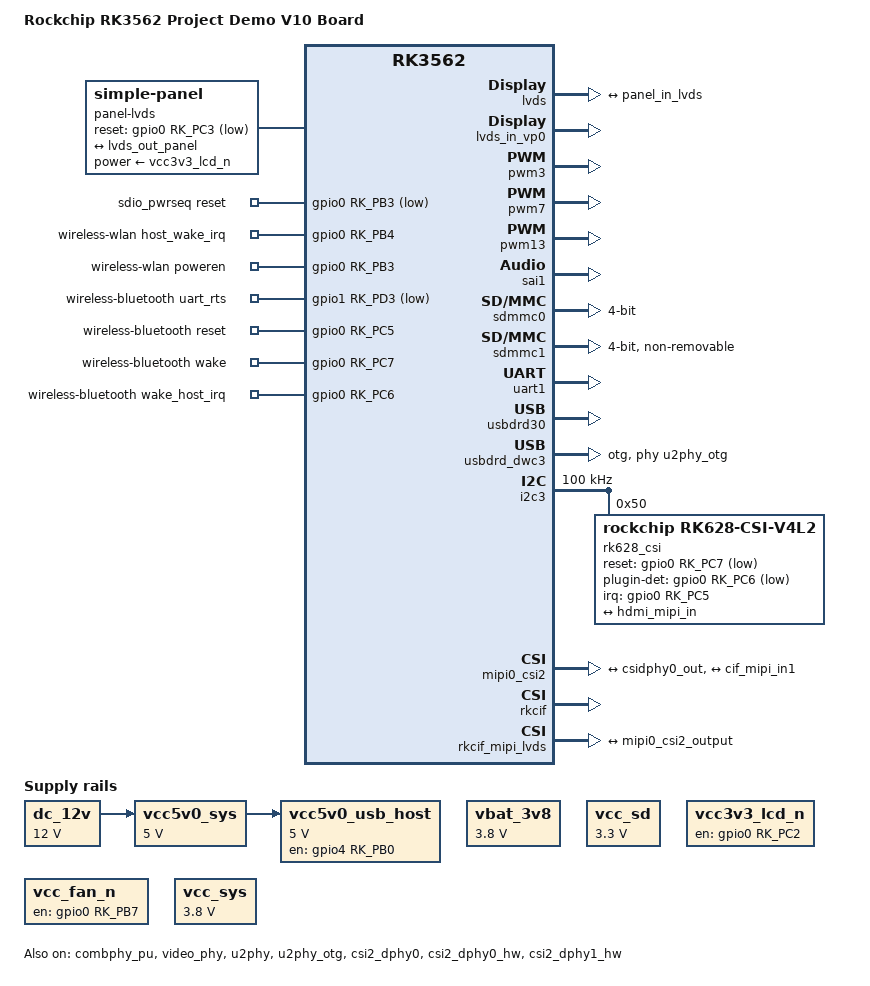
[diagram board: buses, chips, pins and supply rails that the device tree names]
// SPDX-License-Identifier: (GPL-2.0+ OR MIT)
/*
 * Copyright (c) 2025 Rockchip Electronics Co., Ltd.
 *
 */

/dts-v1/;

#include "dt-bindings/usb/pd.h"
#include "rk3562.dtsi"
#include "rk3562-project.dtsi"
#include <dt-bindings/gpio/gpio.h>
#include <dt-bindings/pinctrl/rockchip.h>
#include <dt-bindings/sensor-dev.h>
#include <dt-bindings/display/media-bus-format.h>

/ {
	model = "Rockchip RK3562 Project Demo V10 Board";
	compatible = "rockchip,rk3562-project-demo-v10", "rockchip,rk3562";

	dc_12v: dc-12v {
		compatible = "regulator-fixed";
		regulator-name = "dc_12v";
		regulator-always-on;
		regulator-boot-on;
		regulator-min-microvolt = <12000000>;
		regulator-max-microvolt = <12000000>;
	};

	hdmi_codec: hdmi-codec {
		status = "okay";
		compatible = "rockchip,dummy-codec";
		#sound-dai-cells = <0>;
		//clocks = <&cru SCLK_I2S2_OUT>;
		//clock-names = "mclk";
		//pinctrl-names = "default";
		//pinctrl-0 = <&i2s2_2ch_mclk>;
	};

	hdim_in_sound: hdmi-in-sound {
		status = "okay";
		compatible = "simple-audio-card";
		simple-audio-card,format = "i2s";
		//simple-audio-card,bitclock-inversion = <1>;
		simple-audio-card,mclk-fs = <128>;
		simple-audio-card,name = "rockchip,hdmiin";
		simple-audio-card,bitclock-master = <&sound0_master>;
		simple-audio-card,frame-master = <&sound0_master>;
		simple-audio-card,cpu {
			sound-dai = <&sai1>;
		};
		sound0_master:simple-audio-card,codec {
			sound-dai = <&hdmi_codec>;
		};
	};

	panel-lvds {
		compatible = "simple-panel";
		status = "okay";
		//backlight = <&backlight>;
		reset-delay-ms = <20>;
		enable-delay-ms = <20>;
		prepare-delay-ms = <20>;
		unprepare-delay-ms = <20>;
		disable-delay-ms = <20>;
		bus-format = <MEDIA_BUS_FMT_RGB888_1X7X4_SPWG>;
		width-mm = <164>;
		height-mm = <100>;

		power-supply = <&vcc3v3_lcd_n>;
		reset-gpios = <&gpio0 RK_PC3 GPIO_ACTIVE_LOW>;
		pinctrl-names = "default";
		pinctrl-0 = <&lcd_rst_gpio &lcd_stb_gpio>;

		display-timings {
			native-mode = <&timing0>;

			timing0: timing0 {
				clock-frequency = <59370000>;
				hactive = <1280>;
				vactive = <720>;
				hback-porch = <40>;
				hfront-porch = <40>;
				vback-porch = <20>;
				vfront-porch = <20>;
				hsync-len = <20>;
				vsync-len = <2>;
				hsync-active = <0>;
				vsync-active = <0>;
				de-active = <0>;
				pixelclk-active = <0>;
			};
		};

		ports {
			#address-cells = <1>;
			#size-cells = <0>;

			port@0 {
				reg = <0>;
				panel_in_lvds: endpoint {
					remote-endpoint = <&lvds_out_panel>;
				};
			};
		};
	};

	sdio_pwrseq: sdio-pwrseq {
		compatible = "mmc-pwrseq-simple";
		//clocks = <&rk817 1>;
		//clock-names = "ext_clock";
		pinctrl-names = "default";
		pinctrl-0 = <&wifi_enable_h>;

		/*
		 * On the module itself this is one of these (depending
		 * on the actual card populated):
		 * - SDIO_RESET_L_WL_REG_ON
		 * - PDN (power down when low)
		 */
		post-power-on-delay-ms = <200>;
		reset-gpios = <&gpio0 RK_PB3 GPIO_ACTIVE_LOW>;
	};

	vcc5v0_sys: vcc5v0-sys {
		compatible = "regulator-fixed";
		regulator-name = "vcc5v0_sys";
		regulator-always-on;
		regulator-boot-on;
		regulator-min-microvolt = <5000000>;
		regulator-max-microvolt = <5000000>;
		vin-supply = <&dc_12v>;
	};

	vcc5v0_usb_host: vcc5v0-usb-host {
		compatible = "regulator-fixed";
		regulator-name = "vcc5v0_usb_host";
		regulator-boot-on;
		regulator-always-on;
		regulator-min-microvolt = <5000000>;
		regulator-max-microvolt = <5000000>;
		enable-active-high;
		gpio = <&gpio4 RK_PB0 GPIO_ACTIVE_HIGH>;
		vin-supply = <&vcc5v0_sys>;
		pinctrl-names = "default";
		pinctrl-0 = <&usb_host_pwren>;
	};

	vbat_3v8: vbat-3v8 {
		compatible = "regulator-fixed";
		regulator-name = "vbat_3v8";
		regulator-always-on;
		regulator-boot-on;
		regulator-min-microvolt = <3800000>;
		regulator-max-microvolt = <3800000>;
	};

	vcc_sd: vcc-sd {
		compatible = "regulator-gpio";
		enable-active-low;
		regulator-boot-on;
		gpios = <&gpio0 RK_PA5 GPIO_ACTIVE_LOW>;
		regulator-min-microvolt = <3300000>;
		regulator-max-microvolt = <3300000>;
		pinctrl-names = "default";
		pinctrl-0 = <&vcc_sd_h>;
		regulator-name = "vcc_sd";
		states = <0 0x0
			  3300000 0x1>;
	};

	vcc3v3_lcd_n: vcc3v3-lcd0-n {
		compatible = "regulator-fixed";
		regulator-name = "vcc3v3_lcd_n";
		gpio = <&gpio0 RK_PC2 GPIO_ACTIVE_HIGH>;
		enable-active-high;
		regulator-boot-on;
		regulator-state-mem {
			regulator-off-in-suspend;
		};
	};

	vcc_fan_n: vcc-fan-n {
		compatible = "regulator-fixed";
		regulator-name = "vcc_fan_n";
		gpio = <&gpio0 RK_PB7 GPIO_ACTIVE_HIGH>;
		enable-active-high;
		regulator-boot-on;
		regulator-always-on;
		regulator-state-mem {
			regulator-off-in-suspend;
		};
	};

	vcc_sys: vcc-sys {
		compatible = "regulator-fixed";
		regulator-name = "vcc_sys";
		regulator-always-on;
		regulator-boot-on;
		regulator-min-microvolt = <3800000>;
		regulator-max-microvolt = <3800000>;
	};

	wireless-wlan {
		compatible = "wlan-platdata";
		rockchip,grf = <&sys_grf>;
		wifi_chip_type = "ap6275s";
		pinctrl-names = "default";
		pinctrl-0 = <&wifi_host_wake_irq>;
		WIFI,host_wake_irq = <&gpio0 RK_PB4 GPIO_ACTIVE_HIGH>;
		WIFI,poweren_gpio = <&gpio0 RK_PB3 GPIO_ACTIVE_HIGH>;
		status = "okay";
	};

	wireless-bluetooth {
		compatible = "bluetooth-platdata";
		//clocks = <&rk817 1>;
		//clock-names = "ext_clock";
		//wifi-bt-power-toggle;
		uart_rts_gpios = <&gpio1 RK_PD3 GPIO_ACTIVE_LOW>;
		pinctrl-names = "default", "rts_gpio";
		pinctrl-0 = <&uart1m0_rtsn>;
		pinctrl-1 = <&uart1_gpios>;
		BT,reset_gpio    = <&gpio0 RK_PC5 GPIO_ACTIVE_HIGH>;
		BT,wake_gpio     = <&gpio0 RK_PC7 GPIO_ACTIVE_HIGH>;
		BT,wake_host_irq = <&gpio0 RK_PC6 GPIO_ACTIVE_HIGH>;
		status = "okay";
	};
};



&combphy_pu {
	status = "okay";
};

&dsi {
	status = "disabled";
};

&dsi_in_vp0 {
	status = "disabled";
};

&lvds {
	status = "okay";

	ports {
		port@1 {
			reg = <1>;

			lvds_out_panel: endpoint {
				remote-endpoint = <&panel_in_lvds>;
			};
		};
	};
};

&lvds_in_vp0 {
	status = "okay";
};

&pwm3 {
	status = "okay";

	compatible = "rockchip,remotectl-pwm";
	pinctrl-names = "default";
	pinctrl-0 = <&pwm3m0_pins>;
	assigned-clocks = <&cru CLK_PMU1_PWM0>;
	assigned-clock-rates = <24000000>;
	remote_pwm_id = <3>;
	handle_cpu_id = <1>;
	remote_support_psci = <1>;

	ir_key1 {
		rockchip,usercode = <0x4040>;
		rockchip,key_table =
			<0xf2	KEY_REPLY>,
			<0xba	KEY_BACK>,
			<0xf4	KEY_UP>,
			<0xf1	KEY_DOWN>,
			<0xef	KEY_LEFT>,
			<0xee	KEY_RIGHT>,
			<0xbd	KEY_HOME>,
			<0xea	KEY_VOLUMEUP>,
			<0xe3	KEY_VOLUMEDOWN>,
			<0xe2	KEY_SEARCH>,
			<0xb2	KEY_POWER>,
			<0xbc	KEY_MUTE>,
			<0xec	KEY_MENU>,
			<0xbf	0x190>,
			<0xe0	0x191>,
			<0xe1	0x192>,
			<0xe9	183>,
			<0xe6	248>,
			<0xe8	185>,
			<0xe7	186>,
			<0xf0	388>,
			<0xbe	0x175>;
	};

	ir_key2 {
		rockchip,usercode = <0xff00>;
		rockchip,key_table =
			<0xf9	KEY_HOME>,
			<0xbf	KEY_BACK>,
			<0xfb	KEY_MENU>,
			<0xaa	KEY_REPLY>,
			<0xb9	KEY_UP>,
			<0xe9	KEY_DOWN>,
			<0xb8	KEY_LEFT>,
			<0xea	KEY_RIGHT>,
			<0xeb	KEY_VOLUMEDOWN>,
			<0xef	KEY_VOLUMEUP>,
			<0xf7	KEY_MUTE>,
			<0xe7	KEY_POWER>,
			<0xfc	KEY_POWER>,
			<0xa9	KEY_VOLUMEDOWN>,
			<0xa8	KEY_VOLUMEDOWN>,
			<0xe0	KEY_VOLUMEDOWN>,
			<0xa5	KEY_VOLUMEDOWN>,
			<0xab	183>,
			<0xb7	388>,
			<0xe8	388>,
			<0xf8	184>,
			<0xaf	185>,
			<0xed	KEY_VOLUMEDOWN>,
			<0xee	186>,
			<0xb3	KEY_VOLUMEDOWN>,
			<0xf1	KEY_VOLUMEDOWN>,
			<0xf2	KEY_VOLUMEDOWN>,
			<0xf3	KEY_SEARCH>,
			<0xb4	KEY_VOLUMEDOWN>,
			<0xbe	KEY_SEARCH>;
	};

	ir_key3 {
		rockchip,usercode = <0x1dcc>;
		rockchip,key_table =
			<0xee	KEY_REPLY>,
			<0xf0	KEY_BACK>,
			<0xf8	KEY_UP>,
			<0xbb	KEY_DOWN>,
			<0xef	KEY_LEFT>,
			<0xed	KEY_RIGHT>,
			<0xfc	KEY_HOME>,
			<0xf1	KEY_VOLUMEUP>,
			<0xfd	KEY_VOLUMEDOWN>,
			<0xb7	KEY_SEARCH>,
			<0xff	KEY_POWER>,
			<0xf3	KEY_MUTE>,
			<0xbf	KEY_MENU>,
			<0xf9	0x191>,
			<0xf5	0x192>,
			<0xb3	388>,
			<0xbe	KEY_1>,
			<0xba	KEY_2>,
			<0xb2	KEY_3>,
			<0xbd	KEY_4>,
			<0xf9	KEY_5>,
			<0xb1	KEY_6>,
			<0xfc	KEY_7>,
			<0xf8	KEY_8>,
			<0xb0	KEY_9>,
			<0xb6	KEY_0>,
			<0xb5	KEY_BACKSPACE>;
	};
};

&pwm7 {
	status = "okay";
};

&pwm13 {
	status = "okay";
};

&video_phy {
	status = "okay";
};

&pinctrl {
	headphone {
		hp_det: hp-det {
			rockchip,pins = <1 RK_PD0 RK_FUNC_GPIO &pcfg_pull_none>;
		};
	};

	lcd {
		lcd_rst_gpio: lcd-rst-gpio {
			rockchip,pins = <0 RK_PC3 RK_FUNC_GPIO &pcfg_pull_none>;
		};
		lcd_stb_gpio: lcd-stb-gpio {
			rockchip,pins = <0 RK_PC4 RK_FUNC_GPIO &pcfg_pull_down>;
		};
	};

	sdio-pwrseq {
		wifi_enable_h: wifi-enable-h {
			rockchip,pins = <0 RK_PB3 RK_FUNC_GPIO &pcfg_pull_none>;
		};
	};

	vcc_sd {
		vcc_sd_h: vcc-sd-h {
			rockchip,pins = <0 RK_PA5 RK_FUNC_GPIO &pcfg_pull_down>;
		};
	};

	usb {
		usb_host_pwren: usb-host-pwren {
			rockchip,pins = <4 RK_PB0 RK_FUNC_GPIO &pcfg_pull_none>;
		};

	};

	wireless-wlan {
		wifi_host_wake_irq: wifi-host-wake-irq {
			rockchip,pins = <0 RK_PB4 RK_FUNC_GPIO &pcfg_pull_down>;
		};
	};

	wireless-bluetooth {
		uart1_gpios: uart1-gpios {
			rockchip,pins = <1 RK_PD3 RK_FUNC_GPIO &pcfg_pull_none>;
		};
	};
};

&sai1 {
	status = "okay";
	pinctrl-names = "default";
	pinctrl-0 = <&i2s1m1_lrck
		     &i2s1m1_sclk
		     &i2s1m1_sdi0>;
};

&sdmmc0 {
	no-sdio;
	no-mmc;
	bus-width = <4>;
	cap-mmc-highspeed;
	cap-sd-highspeed;
	disable-wp;
	sd-uhs-sdr104;
	//vmmc-supply = <&vcc_sd>;
	//vqmmc-supply = <&vccio_sd>;
	pinctrl-names = "default";
	pinctrl-0 = <&sdmmc0_bus4 &sdmmc0_clk &sdmmc0_cmd &sdmmc0_det>;
	status = "okay";
};

&sdmmc1 {
	no-sd;
	no-mmc;
	bus-width = <4>;
	disable-wp;
	cap-sd-highspeed;
	cap-sdio-irq;
	keep-power-in-suspend;
	mmc-pwrseq = <&sdio_pwrseq>;
	non-removable;
	pinctrl-names = "default";
	pinctrl-0 = <&sdmmc1_bus4 &sdmmc1_cmd &sdmmc1_clk>;
	sd-uhs-sdr104;
	status = "okay";
};

&u2phy {
	status = "okay";
};

&u2phy_otg {
	status = "okay";
};

&uart1 {
	status = "okay";
	pinctrl-names = "default";
	pinctrl-0 = <&uart1m0_xfer &uart1m0_ctsn>;
};

&usbdrd30 {
	status = "okay";
};

&usbdrd_dwc3 {
	status = "okay";

	dr_mode = "otg";
	maximum-speed = "high-speed";
	extcon =<&u2phy>;
	phys = <&u2phy_otg>;
	phy-names = "usb2-phy";
	snps,dis_u2_susphy_quirk;
	snps,usb2-lpm-disable;
};

&csi2_dphy0 {
	status = "okay";

	ports {
		#address-cells = <1>;
		#size-cells = <0>;
		port@0 {
			reg = <0>;
			#address-cells = <1>;
			#size-cells = <0>;

			hdmi_mipi_in: endpoint@1 {
				reg = <1>;
				remote-endpoint = <&hdmiin_out>;
				data-lanes = <1 2 3 4>;
			};
		};
		port@1 {
			reg = <1>;
			#address-cells = <1>;
			#size-cells = <0>;

			csidphy0_out: endpoint@0 {
				reg = <0>;
				remote-endpoint = <&mipi0_csi2_input>;
			};
		};
	};
};

&csi2_dphy0_hw {
	status = "okay";
};

&csi2_dphy1_hw {
	status = "okay";
};

&i2c3 {
	clock-frequency = <100000>;
	pinctrl-0 = <&i2c3m1_xfer>;
	status = "okay";

	rk628_csi: rk628_csi@50 {
		reg = <0x50>;
		compatible = "rockchip,rk628-csi-v4l2";
		status = "okay";
		power-domains = <&power RK3562_PD_VI>;
		pinctrl-names = "default";
		pinctrl-0 = <&rk628_hdmiin_pin>;
		interrupt-parent = <&gpio0>;
		interrupts = <RK_PC5 IRQ_TYPE_LEVEL_HIGH>;
		reset-gpios = <&gpio0 RK_PC7 GPIO_ACTIVE_LOW>;
		plugin-det-gpios = <&gpio0 RK_PC6 GPIO_ACTIVE_LOW>;
		continues-clk = <1>;

		rockchip,camera-module-index = <0>;
		rockchip,camera-module-facing = "back";
		rockchip,camera-module-name = "HDMI-MIPI";
		rockchip,camera-module-lens-name = "RK628-CSI";

		multi-dev-info {
			dev-idx-l = <0>;
			dev-idx-r = <1>;
			combine-idx = <0>;
			pixel-offset = <0>;
			dev-num = <2>;
		};

		port {
			hdmiin_out: endpoint {
				remote-endpoint = <&hdmi_mipi_in>;
				data-lanes = <1 2 3 4>;
			};
		};
	};
};

&pinctrl {
	hdmiin {
		rk628_hdmiin_pin: rk628-hdmiin-pin {
			rockchip,pins = <0 RK_PC5 RK_FUNC_GPIO &pcfg_pull_none>,
					<0 RK_PC6 RK_FUNC_GPIO &pcfg_pull_none>,
					<0 RK_PC7 RK_FUNC_GPIO &pcfg_pull_none>;
		};
	};
};

&mipi0_csi2 {
	status = "okay";

	ports {
		#address-cells = <1>;
		#size-cells = <0>;

		port@0 {
			reg = <0>;
			#address-cells = <1>;
			#size-cells = <0>;

			mipi0_csi2_input: endpoint@1 {
				reg = <1>;
				remote-endpoint = <&csidphy0_out>;
			};
		};

		port@1 {
			reg = <1>;
			#address-cells = <1>;
			#size-cells = <0>;

			mipi0_csi2_output: endpoint@0 {
				reg = <0>;
				remote-endpoint = <&cif_mipi_in1>;
			};
		};
	};
};

&rkcif {
	status = "okay";
};

&rkcif_mipi_lvds {
	status = "okay";

	port {
		cif_mipi_in1: endpoint {
			remote-endpoint = <&mipi0_csi2_output>;
		};
	};
};

&rkcif_mmu {
	status = "okay";
};
